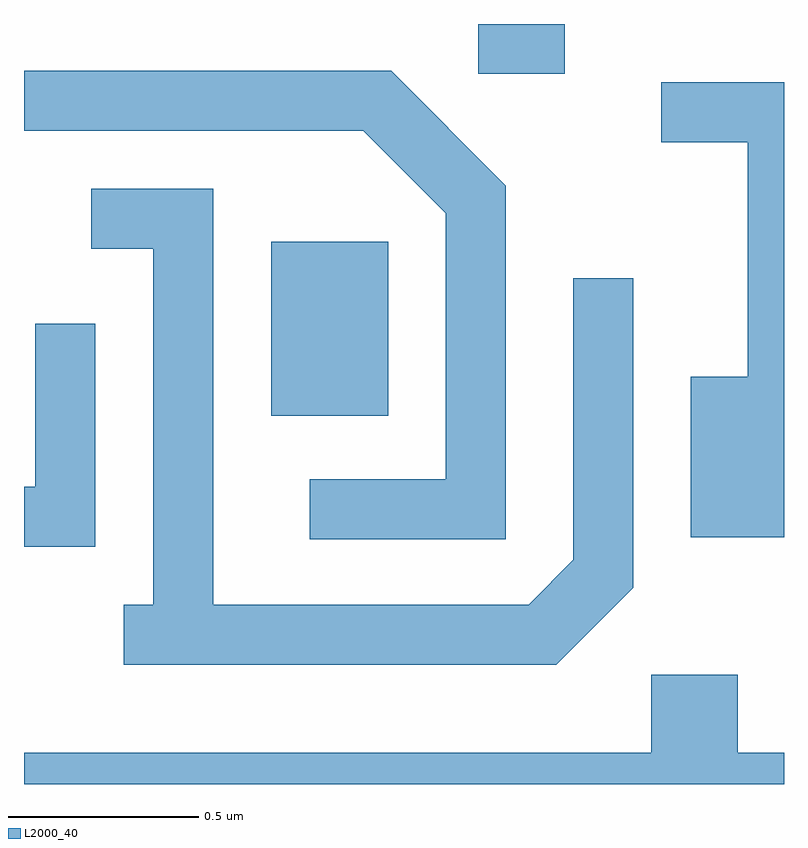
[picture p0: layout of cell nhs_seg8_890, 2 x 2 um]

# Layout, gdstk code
import gdstk
lib = gdstk.Library(unit=1e-6, precision=1e-09)
def R(c, l, rs):  # rectangles x0, y0, x1, y1
    for r in rs: c.add(gdstk.rectangle(r[:2], r[2:], *l))
def P(c, l, *ps):  # polygons
    for p in ps: c.add(gdstk.Polygon(p, *l))
L2000_40 = (2000, 40)

nhs_seg8_890 = lib.new_cell('nhs_seg8_890')
R(nhs_seg8_890, L2000_40, [(192.261,1875.311,192.569,1875.769), (192.806,1876.211,193.034,1876.342)])
P(nhs_seg8_890, L2000_40, [(192.879,1875.917),(192.577,1876.219),(191.611,1876.219),(191.611,1876.061),(192.504,1876.061),(192.721,1875.844),(192.721,1875.144),(192.363,1875.144),(192.363,1874.986),(192.879,1874.986)],
  [(193.611,1876.189),(193.288,1876.189),(193.288,1876.031),(193.516,1876.031),(193.516,1875.414),(193.366,1875.414),(193.366,1874.991),(193.611,1874.991)],
  [(193.214,1874.859),(193.214,1875.673),(193.056,1875.673),(193.056,1874.932),(192.939,1874.814),(192.109,1874.814),(192.109,1875.909),(191.788,1875.909),(191.788,1875.751),(191.951,1875.751),(191.951,1874.814),(191.873,1874.814),(191.873,1874.656),(193.012,1874.656)],
  [(191.799,1875.553),(191.641,1875.553),(191.641,1875.124),(191.611,1875.124),(191.611,1874.966),(191.799,1874.966)],
  [(193.611,1874.424),(193.489,1874.424),(193.489,1874.629),(193.261,1874.629),(193.261,1874.424),(191.611,1874.424),(191.611,1874.342),(193.611,1874.342)])

lib.write_gds('nhs_seg8_890.gds')
